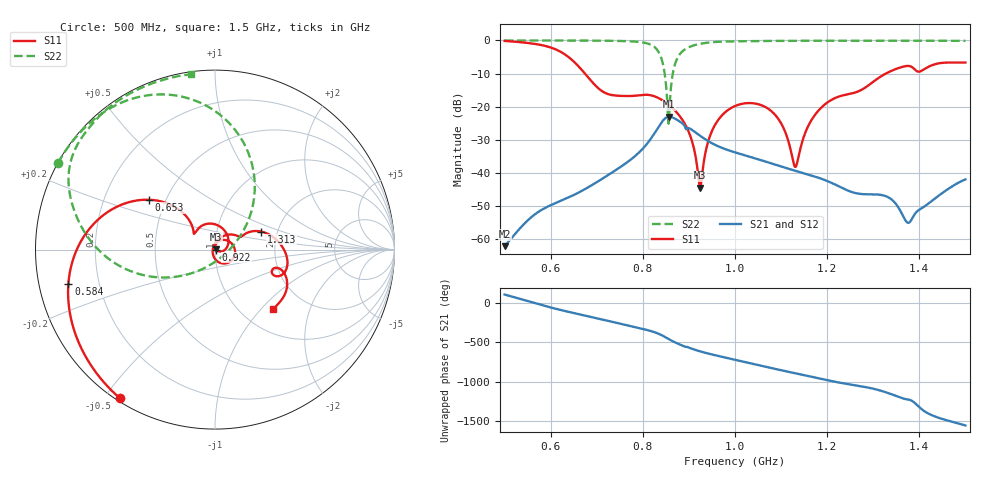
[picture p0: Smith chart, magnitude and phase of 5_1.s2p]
! TOUCHSTONE file generated by CST MICROWAVE STUDIO
! Date and time: Mon Oct 26 12:04:45 2020
! Project name: Scenario_1_Circular_Tissue_out_of_Line_v2.cst
! Parameters = {dy1=-276.8; L_HA=400; MT=2.54; Rad_Dielectric=30; Rad_Lower=7.3; Rad_Upper=30; a_HA=580; a_WG=246; b_HA=500; b_WG=121; c_HA=0; c_WG=187; d_feed=85; dx1=173; h_feed=15; h_lower=18; h_upper=40}
! Header version: 2018
! Port assignment regex: !\s*Touchstone port\s*([0-9]+)\s*=\s*(CST MWS port|CST DS port)\s*([0-9]+|Zmin|Zmax)\s*\(\"(.*)\"\)(\s*mode\s*([0-9]+))?.*
! Touchstone port assignment:
! Touchstone port 1 = CST MWS port 1 ("")
! Touchstone port 2 = CST MWS port 2 ("")
# GHz S DB R 50
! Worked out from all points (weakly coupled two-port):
!   1003 points, 500 MHz to 1.5 GHz, reference 50 ohm
!   highest |S21| = -22.99 dB at 857 MHz (marker M1); lowest = -62.0 dB at 500 MHz (marker M2)
!   lowest |S11| = -44.4 dB at 924 MHz (marker M3), VSWR 1.01, Z = 50.6 + j0.249 ohm
!   |S11| at or under -10 dB: 674.4 MHz to 1.327 GHz (652.6 MHz wide, 65.2 % of centre)
!   |S22| runs from -25.1 to 0.0 dB; largest |S21 - S12| = 2.8e-05
!   S11 on the Smith chart (normalised r, x): 500 MHz: 0.01, -0.55; 584 MHz: 0.09, -0.12; 653 MHz: 0.41, +0.29; 922 MHz: 1.01, -0.00; 1.313 GHz: 1.64, +0.36; 1.5 GHz: 1.38, -1.17
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0.5  -0.15 -122.5  -62.02 105.5  -62.02 105.5  -0.01 151.1
0.584  -1.52 -166.8  -50.78 -33.5  -50.78 -33.5  -0.02 145.3
0.653  -6.75 142.8  -46.39 -133.2  -46.39 -133.2  -0.04 139.7
0.667  -8.81 135.4  -45.39 -151.7  -45.39 -151.7  -0.04 138.4
0.718  -15.81 138.2  -41.17 140.5  -41.17 140.5  -0.09 132.6
0.781  -16.69 135.1  -35.11 55.5  -35.11 55.5  -0.33 119.9
0.834  -17.37 82.6  -26.08 -31.5  -26.08 -31.5  -3.43 80.2
0.846  -18.35 65.9  -23.79 -65.8  -23.79 -65.8  -8.78 53.2
0.857  -19.49 50.1  -22.99 -102.3  -22.99 -102.3  -22.91 -93.7
0.876  -22.11 21.6  -24.09 -157.5  -24.09 -157.4  -5.05 -172.0
0.904  -29.20 -18.4  -26.72 142.9  -26.72 142.9  -1.80 164.6
0.922  -42.84 -0.8  -28.52 108.6  -28.52 108.6  -1.09 157.2
0.924  -44.38 24.0  -28.72 105.2  -28.72 105.2  -1.03 156.5
0.952  -26.70 70.3  -31.14 62.5  -31.14 62.5  -0.52 148.6
1  -19.78 15.0  -33.74 -2.6  -33.74 -2.6  -0.27 140.1
1.082  -21.71 -66.4  -37.21 -111.6  -37.21 -111.6  -0.15 131.4
1.131  -38.16 170.9  -39.29 -173.6  -39.29 -173.6  -0.11 127.1
1.167  -23.77 69.5  -40.75 141.2  -40.75 141.2  -0.09 124.2
1.313  -11.18 21.4  -46.49 -28.9  -46.49 -28.9  -0.09 113.0
1.334  -9.51 11.6  -47.39 -67.8  -47.39 -67.8  -0.09 111.5
1.377  -7.70 -15.1  -54.97 -147.7  -54.97 -147.7  -0.09 108.1
1.5  -6.67 -45.9  -41.91 -115.6  -41.91 -115.6  -0.13 97.8
